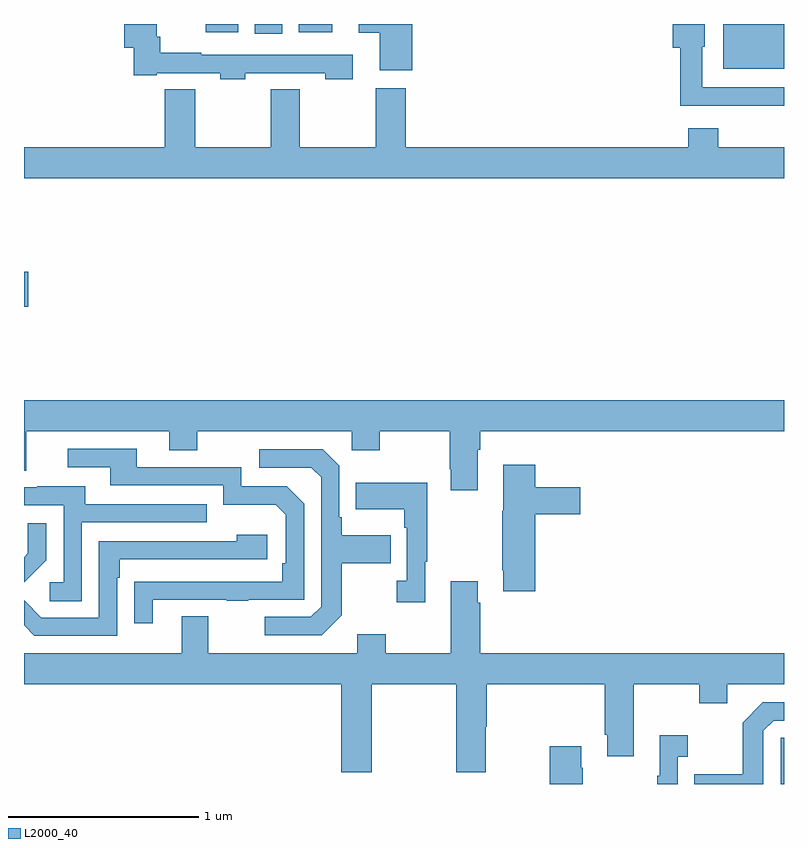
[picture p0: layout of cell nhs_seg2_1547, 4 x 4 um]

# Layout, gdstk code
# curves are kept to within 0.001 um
import gdstk
lib = gdstk.Library(unit=1e-6, precision=1e-09)
def R(c, l, rs):  # rectangles x0, y0, x1, y1
    for r in rs: c.add(gdstk.rectangle(r[:2], r[2:], *l))
def P(c, l, *ps):  # polygons
    for p in ps: c.add(gdstk.Polygon(p, *l))
L2000_40 = (2000, 40)

nhs_seg2_1547 = lib.new_cell('nhs_seg2_1547')
R(nhs_seg2_1547, L2000_40, [(194.982,625.8,195,626.043), (191,628.313,191.023,628.496), (194.681,629.564,195,629.8), (192.215,629.748,192.358,629.8), (191.957,629.756,192.127,629.8), (192.446,629.756,192.622,629.8)])
P(nhs_seg2_1547, L2000_40, [(194.999,629.37),(195,629.37),(195,629.466),(194.571,629.466),(194.571,629.679),(194.584,629.679),(194.584,629.8),(194.414,629.8),(194.414,629.675),(194.455,629.675),(194.455,629.37),(194.743,629.37),(194.743,629.369),(194.999,629.369)],
  [(193.043,629.8),(192.761,629.8),(192.761,629.753),(192.872,629.753),(192.872,629.556),(193.043,629.556)],
  [(192.165,629.541),(192.585,629.541),(192.585,629.509),(192.73,629.509),(192.73,629.637),(191.933,629.637),(191.933,629.65),(191.716,629.65),(191.716,629.734),(191.698,629.734),(191.698,629.8),(191.528,629.8),(191.528,629.675),(191.577,629.675),(191.577,629.529),(191.698,629.529),(191.698,629.541),(192.033,629.541),(192.033,629.509),(192.165,629.509)],
  [(195,629.152),(194.655,629.152),(194.655,629.251),(194.495,629.251),(194.495,629.152),(193.01,629.152),(193.01,629.461),(192.85,629.461),(192.85,629.152),(192.452,629.152),(192.452,629.456),(192.298,629.456),(192.298,629.152),(191.9,629.152),(191.9,629.456),(191.741,629.456),(191.741,629.152),(191,629.152),(191,628.988),(195,628.988)],
  [(193.387,627.56),(193.4,627.56),(193.4,627.656),(195,627.656),(195,627.82),(191,627.82),(191,627.448),(191.011,627.448),(191.011,627.656),(191.765,627.656),(191.765,627.557),(191.913,627.557),(191.913,627.656),(192.726,627.656),(192.726,627.557),(192.873,627.557),(192.873,627.656),(193.24,627.656),(193.24,627.457),(193.247,627.457),(193.247,627.345),(193.387,627.345)],
  [(191.677,626.769),(192.067,626.769),(192.067,626.764),(192.179,626.764),(192.179,626.769),(192.474,626.769),(192.474,627.276),(192.384,627.366),(192.144,627.366),(192.144,627.468),(191.593,627.468),(191.593,627.564),(191.229,627.564),(191.229,627.468),(191.453,627.468),(191.453,627.372),(192.048,627.372),(192.048,627.269),(192.325,627.269),(192.378,627.216),(192.378,626.962),(192.358,626.962),(192.358,626.865),(191.581,626.864),(191.581,626.646),(191.677,626.646)],
  [(192.673,626.689),(192.673,626.962),(192.929,626.962),(192.929,627.109),(192.673,627.109),(192.673,627.205),(192.66,627.205),(192.66,627.474),(192.573,627.561),(192.237,627.561),(192.237,627.465),(192.513,627.465),(192.564,627.414),(192.564,626.733),(192.51,626.679),(192.267,626.679),(192.267,626.583),(192.567,626.583)],
  [(193.691,627.221),(193.927,627.221),(193.927,627.363),(193.691,627.363),(193.691,627.481),(193.523,627.481),(193.523,627.237),(193.516,627.237),(193.516,626.926),(193.523,626.926),(193.523,626.814),(193.691,626.814)],
  [(193.111,626.969),(193.123,626.969),(193.123,627.385),(192.745,627.385),(192.745,627.245),(193.002,627.245),(193.002,627.149),(193.014,627.149),(193.014,626.87),(192.963,626.87),(192.963,626.757),(193.111,626.757)],
  [(191.304,627.177),(191.963,627.177),(191.963,627.273),(191.323,627.273),(191.323,627.367),(191.069,627.367),(191.069,627.363),(191,627.363),(191,627.267),(191.208,627.267),(191.208,626.862),(191.136,626.862),(191.136,626.761),(191.304,626.761)],
  [(191.118,626.978),(191.118,627.172),(191.021,627.172),(191.021,627.015),(191,626.994),(191,626.862),(191.002,626.862)],
  [(191.49,626.885),(191.503,626.885),(191.503,626.982),(192.28,626.982),(192.28,627.112),(192.119,627.112),(192.119,627.078),(191.394,627.078),(191.394,626.676),(191.091,626.676),(191,626.767),(191,626.635),(191.055,626.58),(191.49,626.58)],
  [(191.971,626.683),(191.831,626.683),(191.831,626.488),(191,626.488),(191,626.324),(192.671,626.324),(192.671,625.863),(192.831,625.863),(192.831,626.324),(193.276,626.324),(193.276,625.863),(193.431,625.863),(193.431,626.102),(193.436,626.102),(193.436,626.324),(194.057,626.324),(194.057,626.059),(194.069,626.059),(194.069,625.947),(194.209,625.947),(194.209,626.324),(194.554,626.324),(194.554,626.225),(194.701,626.225),(194.701,626.324),(195,626.324),(195,626.488),(193.4,626.488),(193.4,626.753),(193.387,626.753),(193.387,626.866),(193.247,626.866),(193.247,626.488),(192.903,626.488),(192.903,626.587),(192.755,626.587),(192.755,626.488),(191.971,626.488)],
  [(194.892,626.079),(194.946,626.133),(195,626.133),(195,626.229),(194.889,626.229),(194.784,626.123),(194.784,625.851),(194.527,625.851),(194.527,625.8),(194.892,625.8)],
  [(194.442,625.943),(194.494,625.943),(194.494,626.056),(194.345,626.056),(194.345,625.843),(194.334,625.843),(194.334,625.8),(194.442,625.8)],
  [(193.941,625.886),(193.933,625.886),(193.933,625.999),(193.766,625.999),(193.766,625.8),(193.941,625.8)])

lib.write_gds('nhs_seg2_1547.gds')
